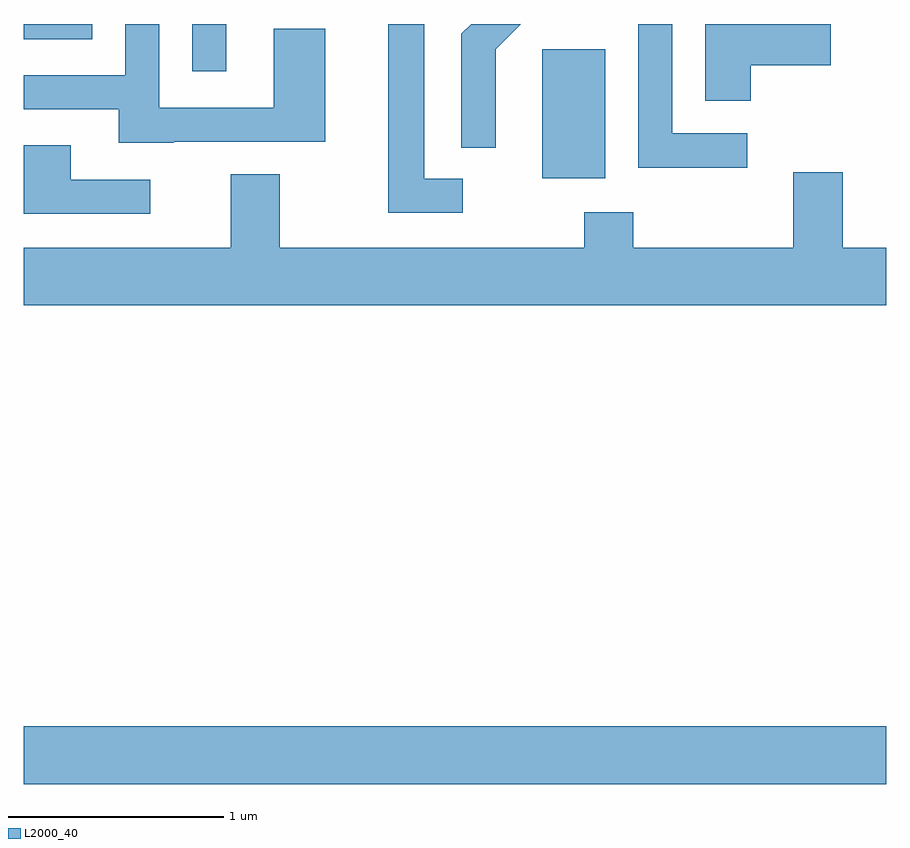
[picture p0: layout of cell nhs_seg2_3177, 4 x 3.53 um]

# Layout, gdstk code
import gdstk
lib = gdstk.Library(unit=1e-6, precision=1e-09)
def R(c, l, rs):  # rectangles x0, y0, x1, y1
    for r in rs: c.add(gdstk.rectangle(r[:2], r[2:], *l))
def P(c, l, *ps):  # polygons
    for p in ps: c.add(gdstk.Polygon(p, *l))
L2000_40 = (2000, 40)

nhs_seg2_3177 = lib.new_cell('nhs_seg2_3177')
R(nhs_seg2_3177, L2000_40, [(277.611,1088.276,281.611,1088.544), (280.016,1091.086,280.309,1091.684), (278.391,1091.583,278.549,1091.802), (277.611,1091.731,277.929,1091.802)])
P(nhs_seg2_3177, L2000_40, [(280.984,1091.611),(281.354,1091.611),(281.354,1091.802),(280.771,1091.802),(280.771,1091.446),(280.984,1091.446)],
  [(279.799,1091.684),(279.917,1091.802),(279.686,1091.802),(279.641,1091.757),(279.641,1091.228),(279.799,1091.228)],
  [(280.968,1091.294),(280.619,1091.294),(280.619,1091.802),(280.461,1091.802),(280.461,1091.136),(280.968,1091.136)],
  [(278.305,1091.256),(279.009,1091.256),(279.009,1091.779),(278.771,1091.779),(278.771,1091.414),(278.239,1091.414),(278.239,1091.802),(278.081,1091.802),(278.081,1091.564),(277.611,1091.564),(277.611,1091.406),(278.051,1091.406),(278.051,1091.251),(278.305,1091.251)],
  [(279.648,1091.084),(279.469,1091.084),(279.469,1091.802),(279.301,1091.802),(279.301,1090.926),(279.648,1090.926)],
  [(278.198,1091.079),(277.829,1091.079),(277.829,1091.239),(277.611,1091.239),(277.611,1090.921),(278.198,1090.921)],
  [(281.611,1090.764),(281.409,1090.764),(281.409,1091.114),(281.181,1091.114),(281.181,1090.764),(280.439,1090.764),(280.439,1090.929),(280.211,1090.929),(280.211,1090.764),(278.799,1090.764),(278.799,1091.104),(278.571,1091.104),(278.571,1090.764),(277.611,1090.764),(277.611,1090.496),(281.611,1090.496)])

lib.write_gds('nhs_seg2_3177.gds')
